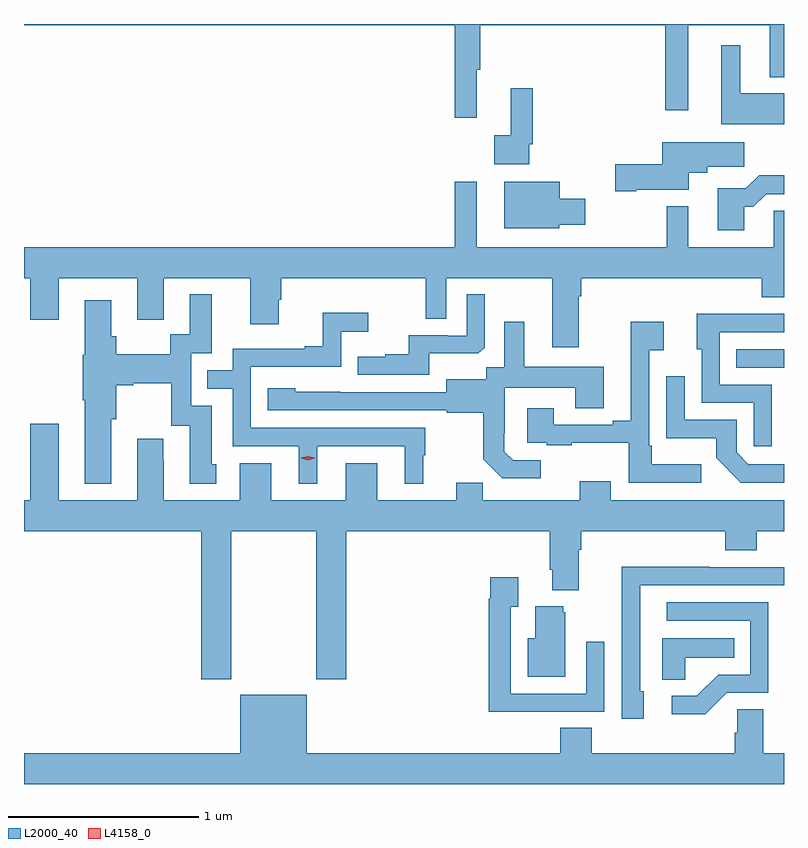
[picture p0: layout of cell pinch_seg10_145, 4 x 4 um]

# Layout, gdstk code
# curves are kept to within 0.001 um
import gdstk
lib = gdstk.Library(unit=1e-6, precision=1e-09)
def R(c, l, rs):  # rectangles x0, y0, x1, y1
    for r in rs: c.add(gdstk.rectangle(r[:2], r[2:], *l))
def P(c, l, *ps):  # polygons
    for p in ps: c.add(gdstk.Polygon(p, *l))
L2000_40 = (2000, 40)
L4158_0 = (4158, 0)

pinch_seg10_145 = lib.new_cell('pinch_seg10_145')
R(pinch_seg10_145, L2000_40, [(674.575,1285.194,674.827,1285.29)])
P(pinch_seg10_145, L2000_40, [(673.211,1286.76),(673.229,1286.76),(673.229,1286.996),(674.202,1286.996),(674.202,1286.547),(674.323,1286.547),(674.323,1286.996),(674.753,1286.996),(674.753,1286.723),(674.827,1286.723),(674.827,1287.002),(670.827,1287.002),(670.827,1286.996),(673.093,1286.996),(673.093,1286.508),(673.211,1286.508)],
  [(674.827,1286.638),(674.596,1286.638),(674.596,1286.89),(674.498,1286.89),(674.498,1286.474),(674.827,1286.474)],
  [(673.485,1286.368),(673.505,1286.368),(673.505,1286.665),(673.388,1286.665),(673.388,1286.417),(673.302,1286.417),(673.302,1286.264),(673.485,1286.264)],
  [(674.05,1286.129),(674.326,1286.129),(674.326,1286.219),(674.422,1286.219),(674.422,1286.251),(674.617,1286.251),(674.617,1286.38),(674.186,1286.38),(674.186,1286.264),(673.938,1286.264),(673.938,1286.122),(674.05,1286.122)],
  [(674.617,1286.039),(674.666,1286.039),(674.733,1286.106),(674.827,1286.106),(674.827,1286.207),(674.696,1286.207),(674.626,1286.137),(674.477,1286.137),(674.477,1285.917),(674.617,1285.917)],
  [(673.747,1285.568),(673.76,1285.568),(673.76,1285.664),(674.711,1285.664),(674.711,1285.565),(674.827,1285.565),(674.827,1286.018),(674.772,1286.018),(674.772,1285.828),(674.323,1285.828),(674.323,1286.044),(674.209,1286.044),(674.209,1285.828),(673.21,1285.828),(673.21,1286.173),(673.093,1286.173),(673.093,1285.828),(670.827,1285.828),(670.827,1285.664),(670.859,1285.664),(670.859,1285.446),(671.011,1285.446),(671.011,1285.664),(671.423,1285.664),(671.423,1285.446),(671.563,1285.446),(671.563,1285.664),(672.017,1285.664),(672.017,1285.422),(672.169,1285.422),(672.169,1285.551),(672.182,1285.551),(672.182,1285.664),(672.942,1285.664),(672.942,1285.45),(673.05,1285.45),(673.05,1285.664),(673.607,1285.664),(673.607,1285.302),(673.747,1285.302)],
  [(673.644,1285.946),(673.78,1285.946),(673.78,1286.081),(673.648,1286.081),(673.648,1286.173),(673.355,1286.173),(673.355,1285.928),(673.644,1285.928)],
  [(671.287,1284.923),(671.313,1284.923),(671.313,1285.1),(671.401,1285.1),(671.401,1285.112),(671.603,1285.112),(671.603,1284.888),(671.699,1284.888),(671.699,1284.582),(671.839,1284.582),(671.839,1284.684),(671.815,1284.684),(671.815,1284.993),(671.706,1284.993),(671.706,1285.269),(671.815,1285.269),(671.815,1285.579),(671.699,1285.579),(671.699,1285.37),(671.598,1285.37),(671.598,1285.264),(671.313,1285.264),(671.313,1285.359),(671.287,1285.359),(671.287,1285.549),(671.147,1285.549),(671.147,1285.26),(671.135,1285.26),(671.135,1285.023),(671.147,1285.023),(671.147,1284.581),(671.287,1284.581)],
  [(672.961,1285.268),(673.219,1285.268),(673.251,1285.299),(673.251,1285.579),(673.158,1285.579),(673.158,1285.362),(673.058,1285.362),(673.058,1285.365),(672.851,1285.365),(672.851,1285.264),(672.727,1285.264),(672.727,1285.252),(672.583,1285.252),(672.583,1285.155),(672.961,1285.155)],
  [(672.37,1284.78),(672.83,1284.78),(672.83,1284.581),(672.928,1284.581),(672.928,1284.732),(672.94,1284.732),(672.94,1284.876),(672.021,1284.876),(672.021,1285.197),(672.498,1285.197),(672.498,1285.382),(672.64,1285.382),(672.64,1285.481),(672.4,1285.481),(672.4,1285.306),(672.305,1285.306),(672.305,1285.293),(671.925,1285.293),(671.925,1285.179),(671.791,1285.179),(671.791,1285.083),(671.925,1285.083),(671.925,1284.78),(672.272,1284.78),(672.272,1284.581),(672.37,1284.581)],
  [(674.763,1285.104),(674.49,1285.104),(674.49,1285.38),(674.827,1285.38),(674.827,1285.476),(674.587,1285.476),(674.587,1285.478),(674.369,1285.478),(674.369,1285.29),(674.394,1285.29),(674.394,1285.008),(674.667,1285.008),(674.667,1284.78),(674.763,1284.78)],
  [(674.392,1284.685),(674.131,1284.685),(674.131,1284.781),(674.118,1284.781),(674.118,1285.286),(674.194,1285.286),(674.194,1285.435),(674.021,1285.435),(674.021,1284.913),(673.925,1284.913),(673.925,1284.894),(673.615,1284.894),(673.615,1284.979),(673.475,1284.979),(673.475,1284.798),(673.579,1284.798),(673.579,1284.786),(673.711,1284.786),(673.711,1284.797),(674.01,1284.797),(674.01,1284.588),(674.392,1284.588)],
  [(673.546,1284.705),(673.401,1284.705),(673.354,1284.752),(673.354,1284.847),(673.356,1284.847),(673.356,1285.088),(673.727,1285.088),(673.727,1284.979),(673.879,1284.979),(673.879,1285.198),(673.459,1285.198),(673.459,1285.435),(673.355,1285.435),(673.355,1285.196),(673.26,1285.196),(673.26,1285.132),(673.049,1285.132),(673.049,1285.065),(672.255,1285.066),(672.255,1285.084),(672.111,1285.084),(672.111,1284.969),(673.053,1284.969),(673.053,1284.957),(673.245,1284.957),(673.245,1284.711),(673.345,1284.611),(673.546,1284.611)],
  [(674.827,1284.684),(674.64,1284.684),(674.577,1284.747),(674.577,1284.918),(674.304,1284.918),(674.304,1285.147),(674.208,1285.147),(674.208,1284.821),(674.47,1284.821),(674.47,1284.719),(674.6,1284.588),(674.827,1284.588)],
  [(671.919,1284.332),(672.364,1284.332),(672.364,1283.553),(672.524,1283.553),(672.524,1284.332),(673.595,1284.332),(673.595,1284.13),(673.607,1284.13),(673.607,1284.023),(673.747,1284.023),(673.747,1284.236),(673.76,1284.236),(673.76,1284.332),(674.519,1284.332),(674.519,1284.233),(674.684,1284.233),(674.684,1284.332),(674.827,1284.332),(674.827,1284.496),(673.915,1284.496),(673.915,1284.595),(673.751,1284.595),(673.751,1284.496),(673.241,1284.496),(673.241,1284.587),(673.103,1284.587),(673.103,1284.496),(672.685,1284.496),(672.685,1284.691),(672.521,1284.691),(672.521,1284.496),(672.127,1284.496),(672.127,1284.691),(671.963,1284.691),(671.963,1284.496),(671.563,1284.496),(671.563,1284.707),(671.56,1284.707),(671.56,1284.82),(671.423,1284.82),(671.423,1284.496),(671.011,1284.496),(671.011,1284.898),(670.859,1284.898),(670.859,1284.496),(670.827,1284.496),(670.827,1284.332),(671.759,1284.332),(671.759,1283.553),(671.919,1283.553)],
  [(674.089,1283.49),(674.07,1283.49),(674.07,1284.048),(674.827,1284.048),(674.827,1284.144),(674.435,1284.144),(674.435,1284.146),(673.972,1284.146),(673.972,1283.839),(673.974,1283.839),(673.974,1283.346),(674.089,1283.346)],
  [(673.565,1283.382),(673.881,1283.382),(673.881,1283.752),(673.785,1283.752),(673.785,1283.478),(673.389,1283.478),(673.389,1283.935),(673.429,1283.935),(673.429,1284.091),(673.281,1284.091),(673.281,1283.978),(673.273,1283.978),(673.273,1283.381),(673.565,1283.381)],
  [(674.526,1283.481),(674.745,1283.481),(674.745,1283.958),(674.211,1283.958),(674.211,1283.862),(674.649,1283.862),(674.649,1283.577),(674.48,1283.577),(674.369,1283.466),(674.235,1283.466),(674.235,1283.369),(674.413,1283.369)],
  [(673.675,1283.907),(673.664,1283.907),(673.664,1283.938),(673.517,1283.938),(673.517,1283.77),(673.478,1283.77),(673.478,1283.567),(673.675,1283.567)],
  [(674.307,1283.666),(674.564,1283.666),(674.564,1283.77),(674.186,1283.77),(674.186,1283.551),(674.307,1283.551)],
  [(673.649,1283.164),(672.316,1283.164),(672.316,1283.473),(671.966,1283.473),(671.966,1283.164),(670.827,1283.164),(670.827,1283.002),(674.827,1283.002),(674.827,1283.164),(674.719,1283.164),(674.719,1283.396),(674.58,1283.396),(674.58,1283.273),(674.567,1283.273),(674.567,1283.164),(673.814,1283.164),(673.814,1283.297),(673.649,1283.297)])
P(pinch_seg10_145, L4158_0, [(672.321,1284.707),(672.285,1284.717),(672.285,1284.717),(672.285,1284.718),(672.321,1284.727),(672.357,1284.718),(672.357,1284.717),(672.357,1284.717)])

lib.write_gds('pinch_seg10_145.gds')
